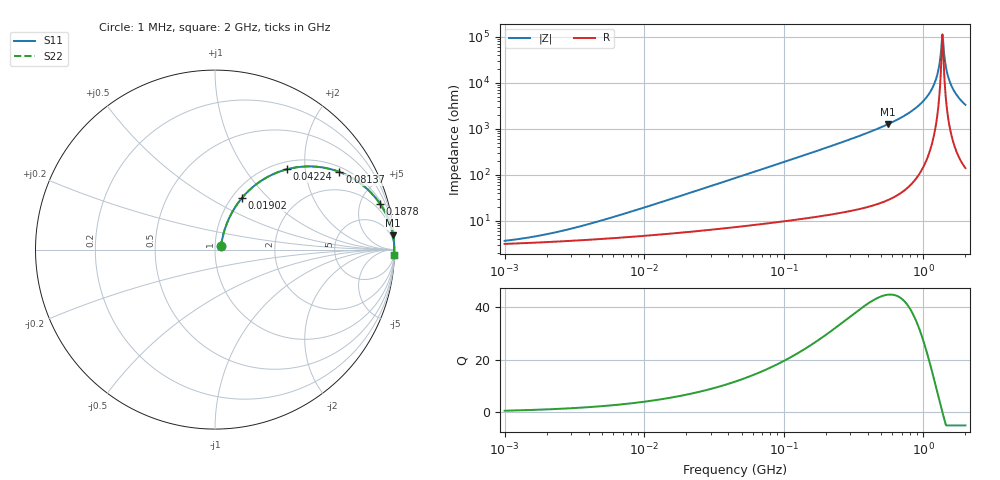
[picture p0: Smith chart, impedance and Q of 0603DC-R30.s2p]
# MHz  S  MA  R  50
!Freq  MagS11  AngS11  MagS21  AngS21  MagS12  AngS12  MagS22  AngS22
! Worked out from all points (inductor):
!   801 points, 1 MHz to 2 GHz, reference 50 ohm
!   read as one part in series: L = 300 nH near 6.881 MHz
!   highest Q = 44.7 at 554.6 MHz (marker M1), where L = 359 nH
!   self-resonance near 1.368 GHz
!   S11 on the Smith chart (normalised r, x): 1 MHz: 1.06, +0.04; 19.02 MHz: 1.11, +0.72; 42.24 MHz: 1.14, +1.59; 81.37 MHz: 1.18, +3.08; 187.8 MHz: 1.25, +7.21; 2 GHz: 4, -67
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1  0.03549 29.9  0.9694 -1.0  0.9694 -1.0  0.03549 29.9
3.572091  0.07425 57.0  0.9615 -3.7  0.9615 -3.7  0.07425 57.0
12.63918  0.2261 65.4  0.9289 -12.8  0.9289 -12.8  0.2261 65.4
19.01731  0.3254 62.4  0.8969 -18.8  0.8969 -18.8  0.3254 62.4
42.24325  0.5993 48.2  0.7489 -36.7  0.7489 -36.7  0.5993 48.2
45.14829  0.6241 46.7  0.7299 -38.5  0.7299 -38.5  0.6241 46.7
81.37127  0.8175 32.0  0.5302 -54.7  0.5302 -54.7  0.8175 32.0
159.7488  0.9397 17.9  0.3076 -69.9  0.3076 -69.9  0.9397 17.9
187.7519  0.9551 15.3  0.2646 -72.6  0.2646 -72.6  0.9551 15.3
554.6017  0.995 4.6  0.07957 -84.2  0.07957 -84.2  0.995 4.6
565.2411  0.9953 4.4  0.0775 -84.3  0.0775 -84.3  0.9953 4.4
842.4378  0.9982 2.2  0.03909 -86.2  0.03909 -86.2  0.9982 2.2
1078.503  0.9989 1.1  0.01869 -86.2  0.01869 -86.2  0.9989 1.1
1231.939  0.9991 0.5  0.008267 -83.6  0.008267 -83.6  0.9991 0.5
1279.66  0.9991 0.3  0.005341 -80.4  0.005341 -80.4  0.9991 0.3
1329.228  0.9991 0.1  0.002484 -69.4  0.002484 -69.4  0.9991 0.1
1367.661  0.9991 0.0  0.0008854 -7.9  0.0008854 -7.9  0.9991 0.0
1407.205  0.9991 -0.1  0.002265 66.8  0.002265 66.8  0.9991 -0.1
1489.756  0.9991 -0.4  0.006565 81.6  0.006565 81.6  0.9991 -0.4
1577.149  0.999 -0.6  0.01098 84.4  0.01098 84.4  0.999 -0.6
1750.903  0.9988 -1.1  0.0192 85.7  0.0192 85.7  0.9988 -1.1
2000  0.9983 -1.7  0.02998 85.9  0.02998 85.9  0.9983 -1.7
